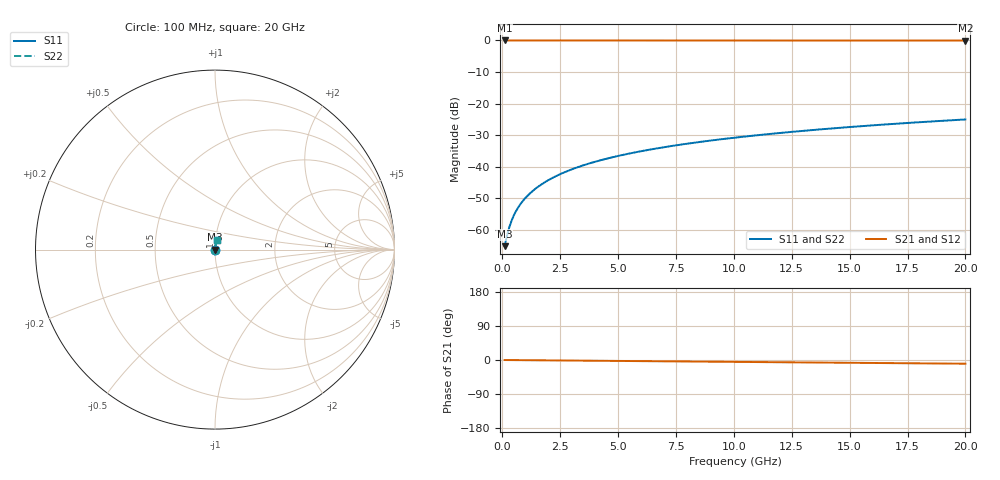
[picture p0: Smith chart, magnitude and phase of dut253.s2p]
! Touchstone file exported from HFSS 2026.1.0
!  File:  C:/ffzhzh/LocalFiles/Ansys_Project_Files/temp_train_TSV_253_1782992894_40604.aedt
!  Generated:  07:50:43 PM Jul  2, 2026
!  Design:  TSV
!  Project:  temp_train_TSV_253_1782992894_40604
! Variables:
!  h_bsmrdl = 2um
!  h_ox = 20um
!  h_rdl = 5um
!  h_sub = 96um
!  h_tmrdl = 5um
!  h_tsv = 96um
!  h_via = 3um
!  l_bsmrdl = 300um
!  l_sub = 410.34um
!  l_tmrdl = 200um
!  m_sub = 200um
!  pitch = 34.27um
!  r_tsv = 5.17um
!  s_tmrdl = 10um
!  w_bsmrdl = 18um
!  w_sub = 500um
!  w_tmrdl = 12um
!  x_tsv_center1 = 206um
!  x_tsv_center2 = 524um
!  x_tsv_center3 = 736um
!  x_tsv_center4 = 1054um
!  x_tsv_center5 = 1266um
!  x_tsv_center6 = 1584um
# GHz S MA R 50.000000
! Terminal data exported
! Port[1] = TSV1_1_T1
! Port[2] = TSV1_1_T2
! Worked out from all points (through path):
!   200 points, 100 MHz to 20 GHz, reference 50 ohm
!   highest |S21| = 0.00 dB at 100 MHz (marker M1); lowest = 0.0 dB at 20 GHz (marker M2)
!   group delay of S21, straight-line fit = 1.36 ps
!   lowest |S11| = -65.1 dB at 100 MHz (marker M3), VSWR 1.00, Z = 50 + j0.0333 ohm
!   |S11| at or under -10 dB: start of sweep to end of sweep
!   |S22| runs from -65.1 to -25.0 dB; largest |S21 - S12| = 3.3e-15
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0.1  0.0005542 36.9  0.9996 -0.1  0.9996 -0.1  0.0005542 36.9
! Gamma 0 0 0 0
! Port Impedance 50 0 50 0
0.2  0.0008044 55.5  0.9995 -0.1  0.9995 -0.1  0.0008044 55.5
0.3  0.001096 64.4  0.9995 -0.2  0.9995 -0.2  0.001096 64.4
0.4  0.0014 69.2  0.9995 -0.2  0.9995 -0.2  0.0014 69.2
0.5  0.001705 72.2  0.9995 -0.3  0.9995 -0.3  0.001705 72.2
0.6  0.00201 74.2  0.9995 -0.3  0.9995 -0.3  0.00201 74.2
0.8  0.002614 76.8  0.9994 -0.4  0.9994 -0.4  0.002614 76.8
1.1  0.003511 79.1  0.9994 -0.6  0.9994 -0.6  0.003511 79.1
1.5  0.0047 80.7  0.9993 -0.8  0.9993 -0.8  0.0047 80.7
1.8  0.005589 81.4  0.9992 -0.9  0.9992 -0.9  0.005589 81.4
2.1  0.006475 81.9  0.9992 -1.1  0.9992 -1.1  0.006475 81.9
2.7  0.008237 82.5  0.9991 -1.4  0.9991 -1.4  0.008237 82.5
3.5  0.01056 82.7  0.9989 -1.7  0.9989 -1.7  0.01056 82.7
4.2  0.01257 82.8  0.9988 -2.1  0.9988 -2.1  0.01257 82.8
5  0.01485 82.7  0.9986 -2.5  0.9986 -2.5  0.01485 82.7
5.9  0.01739 82.6  0.9985 -2.9  0.9985 -2.9  0.01739 82.6
6.8  0.01991 82.4  0.9983 -3.4  0.9983 -3.4  0.01991 82.4
8.3  0.0241 82.0  0.9981 -4.1  0.9981 -4.1  0.0241 82.0
10.1  0.02909 81.5  0.9978 -5.0  0.9978 -5.0  0.02909 81.5
13.4  0.0382 80.4  0.9972 -6.6  0.9972 -6.6  0.0382 80.4
16.7  0.04723 79.1  0.9966 -8.2  0.9966 -8.2  0.04723 79.1
20  0.05616 77.7  0.9959 -9.8  0.9959 -9.8  0.05616 77.7
